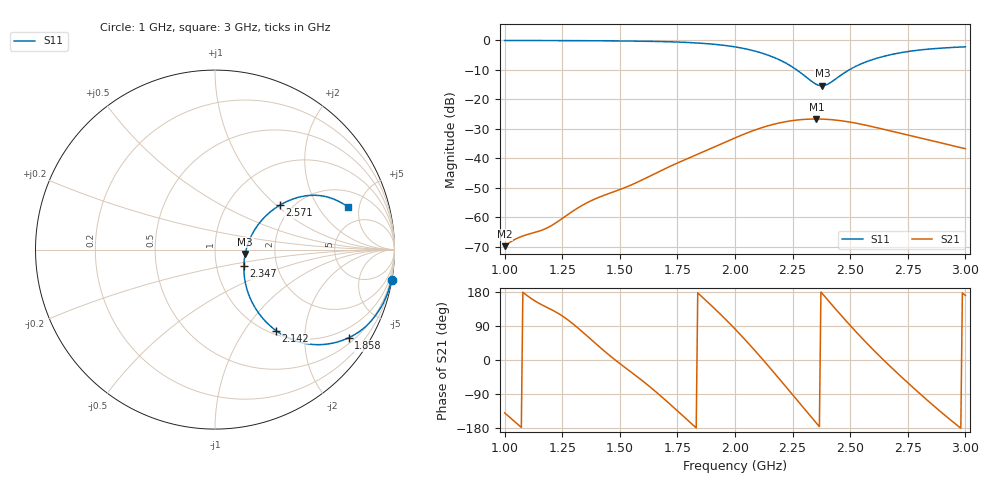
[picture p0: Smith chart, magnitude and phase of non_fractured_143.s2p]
! TOUCHSTONE file generated by CST MICROWAVE STUDIO
! Date and time: Sat Mar  8 13:55:00 2025
! Project name: non_fractured.cst
! Parameters = {B=2.5; D=160; F=20; Feed=2.85625; L=100; M=10; R=0.384908; S=2.5; Theta=180; length=57.125; wave=114.25}
! Header version: 2024
! Port assignment regex: !\s*Touchstone port\s*([0-9]+)\s*=\s*(CST MWS port|CST DES external port|CST DES block port)\s*(.+)\s* \(\"(.*)\"\)(\s*mode\s*([0-9]+))?.*
! Touchstone port assignment:
! Touchstone port 1 = CST MWS port 1 ("")
! Touchstone port 2 = CST MWS port 2 ("")
# GHz S DB R 50
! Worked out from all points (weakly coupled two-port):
!   304 points, 1 GHz to 3 GHz, reference 50 ohm
!   highest |S21| = -26.67 dB at 2.353 GHz (marker M1); lowest = -69.8 dB at 1 GHz (marker M2)
!   lowest |S11| = -15.4 dB at 2.38 GHz (marker M3), VSWR 1.41, Z = 70.1 - j3.55 ohm
!   |S11| at or under -10 dB: 2.268 GHz to 2.496 GHz (227.5 MHz wide, 9.55 % of centre)
!   S12 and S22 are empty: the file has one direction only
!   S11 on the Smith chart (normalised r, x): 1 GHz: 0, -12; 1.858 GHz: 0.67, -3.20; 2.142 GHz: 1.07, -1.41; 2.347 GHz: 1.35, -0.26; 2.571 GHz: 1.72, +1.05; 3 GHz: 3.20, +3.85
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1  -0.02 -9.8  -69.83 -139.5  -200.00 0.0  -200.00 0.0
1.05941  -0.03 -10.6  -66.98 -171.0  -200.00 0.0  -200.00 0.0
1.19142  -0.05 -12.6  -63.36 136.5  -200.00 0.0  -200.00 0.0
1.33663  -0.09 -15.2  -55.99 74.9  -200.00 0.0  -200.00 0.0
1.40264  -0.12 -16.6  -53.47 39.4  -200.00 0.0  -200.00 0.0
1.55446  -0.23 -20.5  -48.89 -34.4  -200.00 0.0  -200.00 0.0
1.66667  -0.37 -24.2  -44.65 -89.1  -200.00 0.0  -200.00 0.0
1.85809  -0.99 -33.4  -37.99 166.0  -200.00 0.0  -200.00 0.0
2.0033  -2.24 -43.2  -32.98 79.8  -200.00 0.0  -200.00 0.0
2.07591  -3.41 -48.7  -30.70 32.0  -200.00 0.0  -200.00 0.0
2.14191  -4.96 -53.0  -29.01 -13.8  -200.00 0.0  -200.00 0.0
2.24092  -8.61 -55.1  -27.31 -85.0  -200.00 0.0  -200.00 0.0
2.33993  -14.30 -33.5  -26.68 -156.9  -200.00 0.0  -200.00 0.0
2.34653  -14.63 -29.9  -26.67 -161.6  -200.00 0.0  -200.00 0.0
2.35314  -14.92 -26.0  -26.67 -166.4  -200.00 0.0  -200.00 0.0
2.37954  -15.40 -8.3  -26.71 174.7  -200.00 0.0  -200.00 0.0
2.41254  -14.41 12.0  -26.86 151.3  -200.00 0.0  -200.00 0.0
2.47855  -10.81 30.9  -27.46 105.6  -200.00 0.0  -200.00 0.0
2.57096  -7.21 34.4  -28.83 45.0  -200.00 0.0  -200.00 0.0
2.66997  -4.95 31.5  -30.62 -14.8  -200.00 0.0  -200.00 0.0
2.82838  -3.04 24.1  -33.52 -102.8  -200.00 0.0  -200.00 0.0
3  -2.17 17.8  -36.73 170.6  -200.00 0.0  -200.00 0.0
